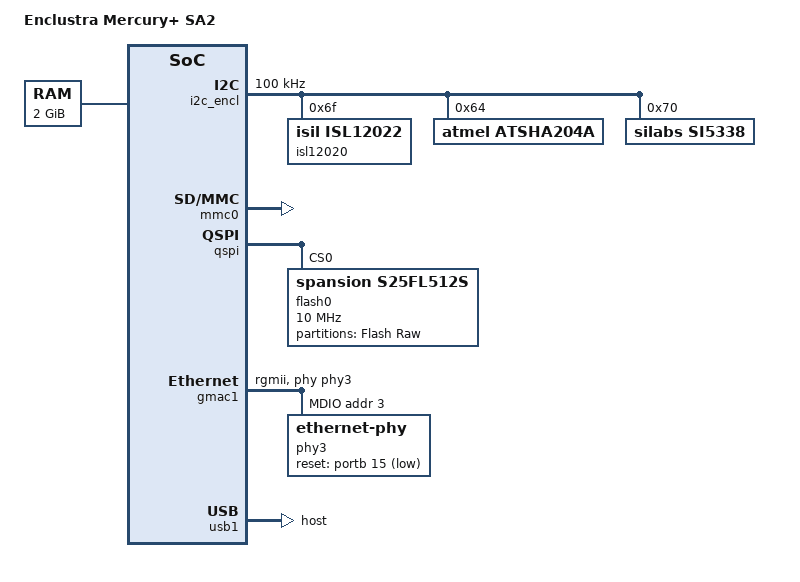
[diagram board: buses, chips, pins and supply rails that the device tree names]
// SPDX-License-Identifier: GPL-2.0+ OR MIT
/*
 * Copyright (C) 2024 Enclustra GmbH - https://www.enclustra.com
 *
 * TODO: This whole file should be dropped, once the patches[1] are upstream
 * and synced into barebox dts/src/arm.
 * [1]: https://lore.kernel.org/all/20241116131025.114542-1-l.rubusch@gmail.com/
 */

#include <arm/intel/socfpga/socfpga_cyclone5.dtsi>

/ {
	barebox,deep-probe;
};

/ {
	model = "Enclustra Mercury+ SA2";
	compatible = "enclustra,mercury-sa2-st1", "enclustra,mercury-sa2", "altr,socfpga-cyclone5", "altr,socfpga";


	chosen {
		stdout-path = "serial0:115200n8";
	};

	aliases {
		ethernet0 = &gmac1;
		som-sernum = "/serial-number";
	};

	/* Adjusted the i2c labels to use generic base-board dtsi files for
	 * Enclustra Arria10 and Cyclone5 SoMs.
	 *
	 * The set of i2c0 and i2c1 labels defined in socfpga_cyclone5.dtsi and in
	 * socfpga_arria10.dtsi do not allow for using the same base-board .dtsi
	 * fragments. Thus define generic labels here to match the correct i2c
	 * bus in a generic base-board .dtsi file.
	 */
	soc {
		i2c_encl: i2c@ffc04000 {
		};
		i2c_encl_fpga: i2c@ffc05000 {
		};
	};

	memory {
		name = "memory";
		device_type = "memory";
		reg = <0x0 0x80000000>; /* 2GB */
	};

	serial-number {
		nvmem-cells = <&ser_num>;
		nvmem-cell-names = "serial-number";
	};
};

&osc1 {
	clock-frequency = <50000000>;
};

&fpga_bridge0 {
	status = "okay";
	bridge-enable = <0x1>;
};

&fpga_bridge1 {
	status = "okay";
	bridge-enable = <0x1>;
};

&i2c_encl {
	i2c-sda-hold-time-ns = <300>;
	clock-frequency = <100000>;
	status = "okay";

	isl12020: rtc@6f {
		compatible = "isil,isl12022";
		reg = <0x6f>;
	};

	atsha204a: atsha204a@64 {
		status = "okay";
		compatible = "atmel,atsha204a";
		reg = <0x64>;

		nvmem-layout {
			compatible = "fixed-layout";
			#address-cells = <1>;
			#size-cells = <1>;

			ser_num: serial-number@0 {
				reg = <0x00 0x4>;
				#nvmem-cell-cells = <0>;
			};

			mac_address_0: mac@10 {
				compatible = "mac-base";
				reg = <0x10 0x6>;
				#nvmem-cell-cells = <0>;
			};
		};
	};

	si5338: si5338@70 {
		status = "okay";
		compatible = "silabs,si5338";
		reg = <0x70>;
	};
};

&i2c_encl_fpga {
	i2c-sda-hold-time-ns = <300>;
	status = "disabled";
};

&uart0 {
	clock-frequency = <100000000>;
};

&mmc0 {
	status = "okay";
};

&qspi {
	status = "okay";

	flash0: flash@0 {
		u-boot,dm-pre-reloc;
		#address-cells = <1>;
		#size-cells = <1>;
		compatible = "spansion,s25fl512s", "jedec,spi-nor";
		reg = <0>;

		spi-rx-bus-width = <4>;
		spi-tx-bus-width = <4>;
		spi-max-frequency = <10000000>;

		cdns,read-delay = <4>;
		cdns,tshsl-ns = <50>;
		cdns,tsd2d-ns = <50>;
		cdns,tchsh-ns = <4>;
		cdns,tslch-ns = <4>;

		partition@raw {
			label = "Flash Raw";
			reg = <0x0 0x4000000>;
		};
	};
};

&gpio0 {
	status = "okay";
};

&gpio1 {
	status = "okay";
};

&gmac1 {
	status = "okay";
	phy-mode = "rgmii";
	phy-handle = <&phy3>;
	nvmem-cells = <&mac_address_0>;
	nvmem-cell-names = "mac-address";

	mdio0 {
		#address-cells = <1>;
		#size-cells = <0>;
		compatible = "snps,dwmac-mdio";

		phy3: ethernet-phy@3 {
			reg = <3>;

			/*
			Ethernet PHY reset pin (active low, GPIO44) :
			- 1st field: GPIO controller phandle
			- 2nd field: GPIO line offset
			- 3rd field: flags (see gpio.txt)

			Reference:
			- Cyclone 5 HPS technical reference, table 23-1: GPIO44 is on controller
			GPIO1, whose 1st line is GPIO29. The offset is thus 44 - 29 = 15.
			- Linux documentation:
				- Documentation/devicetree/bindings/gpio/gpio.txt
				- Documentation/devicetree/bindings/gpio/snps,dw-apb-gpio.yaml
			*/
			reset-gpios = <&portb 15 0x01>;

			/* Add 2ns RX clock delay (1.2ns + 0.78ns)*/
			rxc-skew-ps = <1680>;
			rxd0-skew-ps = <420>;
			rxd1-skew-ps = <420>;
			rxd2-skew-ps = <420>;
			rxd3-skew-ps = <420>;
			rxdv-skew-ps = <420>;

			/* Add 1.38ns TX clock delay (0.96ns + 0.42ns)*/
			txc-skew-ps = <1860>;
			txd0-skew-ps = <0>;
			txd1-skew-ps = <0>;
			txd2-skew-ps = <0>;
			txd3-skew-ps = <0>;
			txen-skew-ps = <0>;
		};
	};
};

&usb1 {
	status = "okay";
	dr_mode = "host";
};
